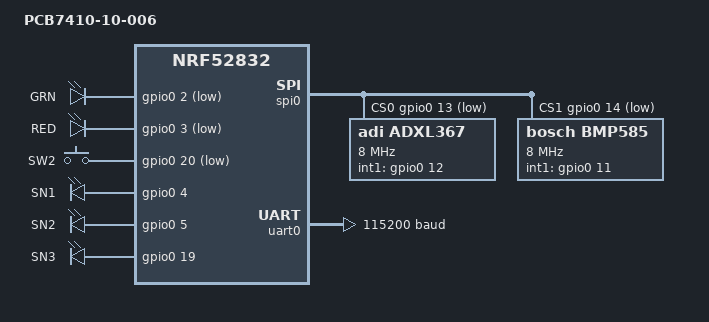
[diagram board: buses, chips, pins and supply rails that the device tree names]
/dts-v1/;
#include <nordic/nrf52832_qfaa.dtsi>
#include "PCB7410_10_006-pinctrl.dtsi"

/ {
	model = "PCB7410-10-006";
	compatible = "InstantCare,PCB7410-10-006";

	chosen {
		zephyr,sram = &sram0;
		zephyr,flash = &flash0;
		zephyr,code-partition = &slot0_partition;
		zephyr_console = &uart0;
		zephyr,shell-uart = &uart0;
	};

	aliases {
		/* LEDs */
		led0 = &grn;
		led1 = &red;

		/* BUTTONS */
		sw0 = &sw2;

		/* Sounders */
		buzzer0 = &SN1;
		buzzer1 = &SN2;
		buzzer2 = &SN3;

		/* UART */
		uart0 = &uart0;

		/* SPI devices */
		spi0 = &spi0;
		accel0 = &adxl367;
		press0 = &bmp585;

	};

	leds {
		compatible = "gpio-leds";
		grn: grn {
			gpios = <&gpio0 2 (GPIO_ACTIVE_LOW)>;
			label = "GRN";
		};

		red: red {
			gpios = <&gpio0 3 (GPIO_ACTIVE_LOW)>;
			label = "RED";
		};
	};

	buttons {
		compatible = "gpio-keys";
		sw2: sw2 {
			label = "SW2";
			gpios = <&gpio0 20 GPIO_ACTIVE_LOW>;
		};
	};

	sounders {
		compatible = "gpio-leds";
		SN1: SN1 {
			gpios = <&gpio0 4 GPIO_ACTIVE_HIGH>;
			label = "SN1";
		};
		SN2: SN2 {
			gpios = <&gpio0 5 GPIO_ACTIVE_HIGH>;
			label = "SN2";
		};
		SN3: SN3 {
			gpios = <&gpio0 19 GPIO_ACTIVE_HIGH>;
			label = "SN3";
		};
	};
};

&flash0 {
	partitions {
		compatible = "fixed-partitions";
		#address-cells = <1>;
		#size-cells = <1>;

		boot_partition: partition@0 {
			label = "mcuboot";
			reg = <0x00000000 DT_SIZE_K(48)>;
		};

		slot0_partition: partition@c000 {
			label = "image-0";
			reg = <0x0000c000 DT_SIZE_K(220)>;
		};

		slot1_partition: partition@43000 {
			label = "image-1";
			reg = <0x00043000 DT_SIZE_K(220)>;
		};

		storage_partition: partition@7a000 {
			label = "storage";
			reg = <0x0007a000 DT_SIZE_K(24)>;
		};
	};
};

&gpio0 {
	status = "okay";
};
&gpiote {
	status = "okay";
};

&spi0 {
	status = "okay";
	pinctrl-0 = <&spi0_default>;
	pinctrl-1 = <&spi0_sleep>;
	pinctrl-names = "default", "sleep";
	cs-gpios = <&gpio0 13 GPIO_ACTIVE_LOW>, <&gpio0 14 GPIO_ACTIVE_LOW>;
	adxl367: adxl367@0 {
		compatible = "adi,adxl367";
		reg = <0x0>;
		spi-max-frequency = <8000000>;
		int1-gpios = <&gpio0 12 0>;
	};

	bmp585: bmp585@1 {
		compatible = "bosch,bmp585";
		reg = <0x1>;
		spi-max-frequency = <8000000>;
		int1-gpios = <&gpio0 11 0>;
	};
};

&uart0 {
	status = "okay";
	current-speed = <115200>;
	pinctrl-0 = <&uart0_default>;
	pinctrl-1 = <&uart0_sleep>;
	pinctrl-names = "default", "sleep";
};
